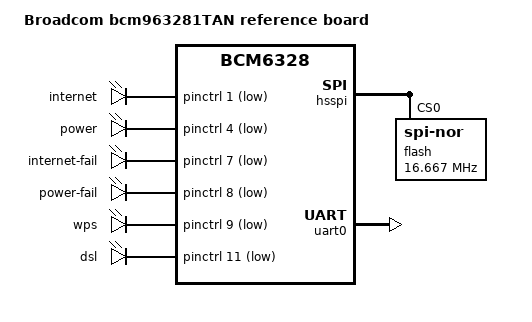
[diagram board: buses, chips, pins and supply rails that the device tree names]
#include "bcm6328.dtsi"

#include <dt-bindings/input/input.h>

/ {
	model = "Broadcom bcm963281TAN reference board";
	compatible = "brcm,bcm963281tan", "brcm,bcm6328";

	aliases {
		led-boot = &led_power;
		led-failsafe = &led_power;
		led-running = &led_power;
		led-upgrade = &led_power;
	};

	chosen {
		bootargs = "rootfstype=squashfs,jffs2 noinitrd console=ttyS0,115200";
		stdout-path = "serial0:115200n8";
	};

	leds {
		compatible = "gpio-leds";

		inet {
			label = "internet";
			gpios = <&pinctrl 1 1>;
		};
		led_power: power {
			label = "power";
			gpios = <&pinctrl 4 1>;
			default-state = "on";
		};
		inet_fail {
			label = "internet-fail";
			gpios = <&pinctrl 7 1>;
		};
		power_fail {
			label = "power-fail";
			gpios = <&pinctrl 8 1>;
		};
		wps {
			label = "wps";
			gpios = <&pinctrl 9 1>;
		};
		dsl {
			label = "dsl";
			gpios = <&pinctrl 11 1>;
		};
	};
};

&hsspi {
	status = "okay";

	flash@0 {
		compatible = "jedec,spi-nor";
		spi-max-frequency = <16666667>;
		spi-tx-bus-width = <2>;
		spi-rx-bus-width = <2>;
		reg = <0>;

		#address-cells = <1>;
		#size-cells = <1>;

		partitions {
			compatible = "brcm,bcm963xx-cfe-nor-partitions";
		};
	};
};

&uart0 {
	status = "okay";
};
